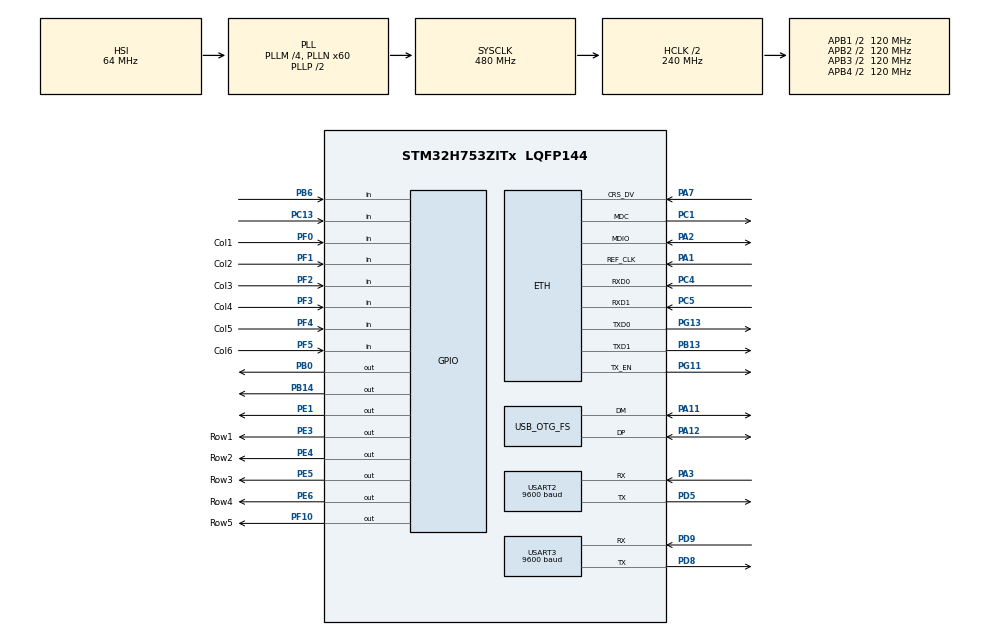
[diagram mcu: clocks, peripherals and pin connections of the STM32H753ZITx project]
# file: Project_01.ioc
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CORTEX_M7.AccessPermission_S-Cortex_Memory_Protection_Unit_Region1_Settings_S=MPU_REGION_FULL_ACCESS
CORTEX_M7.AccessPermission_S-Cortex_Memory_Protection_Unit_Region2_Settings_S=MPU_REGION_FULL_ACCESS
CORTEX_M7.BaseAddress_S-Cortex_Memory_Protection_Unit_Region1_Settings_S=0x30020000
CORTEX_M7.BaseAddress_S-Cortex_Memory_Protection_Unit_Region2_Settings_S=0x30040000
CORTEX_M7.DisableExec_S-Cortex_Memory_Protection_Unit_Region1_Settings_S=MPU_INSTRUCTION_ACCESS_DISABLE
CORTEX_M7.DisableExec_S-Cortex_Memory_Protection_Unit_Region2_Settings_S=MPU_INSTRUCTION_ACCESS_DISABLE
CORTEX_M7.Enable_S-Cortex_Memory_Protection_Unit_Region1_Settings_S=MPU_REGION_ENABLE
CORTEX_M7.Enable_S-Cortex_Memory_Protection_Unit_Region2_Settings_S=MPU_REGION_ENABLE
CORTEX_M7.IsBufferable_S-Cortex_Memory_Protection_Unit_Region2_Settings_S=MPU_ACCESS_BUFFERABLE
CORTEX_M7.IsShareable_S-Cortex_Memory_Protection_Unit_Region2_Settings_S=MPU_ACCESS_SHAREABLE
CORTEX_M7.Size_S-Cortex_Memory_Protection_Unit_Region1_Settings_S=MPU_REGION_SIZE_128KB
CORTEX_M7.Size_S-Cortex_Memory_Protection_Unit_Region2_Settings_S=MPU_REGION_SIZE_32KB
CORTEX_M7.TypeExtField_S-Cortex_Memory_Protection_Unit_Region1_Settings_S=MPU_TEX_LEVEL1
CORTEX_M7.default_mode_Activation=1
ETH.MediaInterface=HAL_ETH_RMII_MODE
ETH.RxBufferAddress=0x30040200
ETH.RxDescAddress=0x30040000
ETH.TxDescAddress=0x30040060
LWIP.BSP.number=1
LWIP.ETH_RX_BUFFER_CNT=10
LWIP.LWIP_DNS=0
LWIP.LWIP_RAM_HEAP_POINTER=0x30020000
LWIP.LWIP_SNMP=1
LWIP.LWIP_SNMP_V3=1
LWIP.MEM_SIZE=16360
LWIP.Version=v2.1.2_Cube
LWIP0.BSP.STBoard=false
LWIP0.BSP.api=BSP_COMPONENT_DRIVER
LWIP0.BSP.component=LAN8742
LWIP0.BSP.instance=LAN8742
LWIP0.BSP.name=Driver_PHY
LWIP0.BSP.semaphore=S_LAN8742
LWIP0.BSP.solution=LAN8742
Mcu.Family=STM32H7
Mcu.Name=STM32H753ZITx
Mcu.Package=LQFP144
NVIC.OTG_FS_IRQn=true\:0\:0\:false\:false\:true\:false\:true\:true
NVIC.PriorityGroup=NVIC_PRIORITYGROUP_4
NVIC.TIM6_DAC_IRQn=true\:0\:0\:false\:false\:true\:true\:true\:true
PA1.GPIO_Speed=GPIO_SPEED_FREQ_VERY_HIGH
PA1.Mode=RMII
PA1.Signal=ETH_REF_CLK
PA11.Mode=Device_Only
PA11.Signal=USB_OTG_FS_DM
PA12.Mode=Device_Only
PA12.Signal=USB_OTG_FS_DP
PA2.GPIO_Speed=GPIO_SPEED_FREQ_VERY_HIGH
PA2.Mode=RMII
PA2.Signal=ETH_MDIO
PA3.Mode=Asynchronous
PA3.Signal=USART2_RX
PA7.GPIO_Speed=GPIO_SPEED_FREQ_VERY_HIGH
PA7.Mode=RMII
PA7.Signal=ETH_CRS_DV
PB0.Signal=GPIO_Output
PB13.GPIO_Speed=GPIO_SPEED_FREQ_VERY_HIGH
PB13.Mode=RMII
PB13.Signal=ETH_TXD1
PB14.Signal=GPIO_Output
PB6.GPIO_PuPd=GPIO_PULLDOWN
PB6.Signal=GPIO_Input
PC1.GPIO_Speed=GPIO_SPEED_FREQ_VERY_HIGH
PC1.Mode=RMII
PC1.Signal=ETH_MDC
PC13.Signal=GPIO_Input
PC4.GPIO_Speed=GPIO_SPEED_FREQ_VERY_HIGH
PC4.Mode=RMII
PC4.Signal=ETH_RXD0
PC5.GPIO_Speed=GPIO_SPEED_FREQ_VERY_HIGH
PC5.Mode=RMII
PC5.Signal=ETH_RXD1
PD5.Mode=Asynchronous
PD5.Signal=USART2_TX
PD8.Mode=Asynchronous
PD8.Signal=USART3_TX
PD9.Mode=Asynchronous
PD9.Signal=USART3_RX
PE1.Signal=GPIO_Output
PE3.GPIO_Label=Row1
PE3.Signal=GPIO_Output
PE4.GPIO_Label=Row2
PE4.Signal=GPIO_Output
PE5.GPIO_Label=Row3
PE5.Signal=GPIO_Output
PE6.GPIO_Label=Row4
PE6.Signal=GPIO_Output
PF0.GPIO_Label=Col1
PF0.GPIO_PuPd=GPIO_PULLUP
PF0.Signal=GPIO_Input
PF1.GPIO_Label=Col2
PF1.GPIO_PuPd=GPIO_PULLUP
PF1.Signal=GPIO_Input
PF10.GPIO_Label=Row5
PF10.Signal=GPIO_Output
PF2.GPIO_Label=Col3
PF2.GPIO_PuPd=GPIO_PULLUP
PF2.Signal=GPIO_Input
PF3.GPIO_Label=Col4
PF3.GPIO_PuPd=GPIO_PULLUP
PF3.Signal=GPIO_Input
PF4.GPIO_Label=Col5
PF4.GPIO_PuPd=GPIO_PULLUP
PF4.Signal=GPIO_Input
PF5.GPIO_Label=Col6
PF5.GPIO_PuPd=GPIO_PULLUP
PF5.Signal=GPIO_Input
PG11.GPIO_Speed=GPIO_SPEED_FREQ_VERY_HIGH
PG11.Mode=RMII
PG11.Signal=ETH_TX_EN
PG13.GPIO_Speed=GPIO_SPEED_FREQ_VERY_HIGH
PG13.Mode=RMII
PG13.Signal=ETH_TXD0
PH0-OSC_IN\ (PH0).Mode=HSE-External-Clock-Source
PH0-OSC_IN\ (PH0).Signal=RCC_OSC_IN
ProjectManager.HeapSize=0x200
ProjectManager.StackSize=0x400
ProjectManager.TargetToolchain=STM32CubeIDE
RCC.ADCFreq_Value=129000000
RCC.APB1Freq_Value=120000000
RCC.APB2Freq_Value=120000000
RCC.APB3Freq_Value=120000000
RCC.APB4Freq_Value=120000000
RCC.CortexFreq_Value=480000000
RCC.D1PPRE=RCC_APB3_DIV2
RCC.D2PPRE1=RCC_APB1_DIV2
RCC.D2PPRE2=RCC_APB2_DIV2
RCC.D3PPRE=RCC_APB4_DIV2
RCC.DIVM1=4
RCC.DIVN1=60
RCC.HCLKFreq_Value=240000000
RCC.HPRE=RCC_HCLK_DIV2
RCC.HSE_VALUE=8000000
RCC.SYSCLKFreq_VALUE=480000000
RCC.SYSCLKSource=RCC_SYSCLKSOURCE_PLLCLK
RCC.USBCLockSelection=RCC_USBCLKSOURCE_HSI48
RCC.USBFreq_Value=48000000
TIM6.Period=9
TIM6.Prescaler=23999
USART2.BaudRate=9600
USART2.VirtualMode-Asynchronous=VM_ASYNC
USART3.BaudRate=9600
USART3.VirtualMode-Asynchronous=VM_ASYNC
USB_DEVICE.CLASS_NAME_FS=HID
USB_DEVICE.VirtualMode-HID_FS=Hid
USB_DEVICE.VirtualModeFS=Hid_FS
USB_OTG_FS.VirtualMode=Device_Only
VP_LWIP_VS_Enabled.Mode=Enabled
VP_MEMORYMAP_VS_MEMORYMAP.Mode=CurAppReg
VP_RNG_VS_RNG.Mode=RNG_Activate
VP_TIM6_VS_ClockSourceINT.Mode=Enable_Timer
VP_USB_DEVICE_VS_USB_DEVICE_HID_FS.Mode=HID_FS
board=custom

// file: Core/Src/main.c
/* USER CODE BEGIN Header */
/**
  ******************************************************************************
  * @file           : main.c
  * @brief          : Main program body
  ******************************************************************************
  * @attention
  *
  * Copyright (c) 2026 STMicroelectronics.
  * All rights reserved.
  *
  * This software is licensed under terms that can be found in the LICENSE file
  * in the root directory of this software component.
  * If no LICENSE file comes with this software, it is provided AS-IS.
  *
  ******************************************************************************
  */
/* USER CODE END Header */
#include "main.h"
#include "lwip.h"
#include "usb_device.h"

/* USER CODE BEGIN Includes */
#include "string.h"
#include "lwip/netif.h"
#include "lwip/dhcp.h"
#include "lwip/apps/snmp.h"
#include "lwip/apps/snmp_mib2.h"
#include <string.h>
#include <stddef.h>
#include <sys/unistd.h>
#include <stdio.h>

#include "lwip/apps/snmpv3.h"
#include "lwip/apps/snmp_snmpv2_framework.h"
#include "lwip/apps/snmp_snmpv2_usm.h"

#include "snmpv3_app.h"
#include "telnet_server.h"
#include "ip_persist.h"
#include "gpio_control.h"

#include "usbd_hid.h"
#include "keyboard_matrix.h"
#include "bms_monitor.h"
/* USER CODE END Includes */

RNG_HandleTypeDef hrng;

TIM_HandleTypeDef htim6;

UART_HandleTypeDef huart2;
UART_HandleTypeDef huart3;

/* USER CODE BEGIN PV */
extern struct netif gnetif;
extern USBD_HandleTypeDef hUsbDeviceFS;

uint8_t keyboardReport[8];

/* USER CODE END PV */

void SystemClock_Config(void);
static void MPU_Config(void);
static void MX_GPIO_Init(void);
static void MX_RNG_Init(void);
static void MX_USART2_UART_Init(void);
static void MX_USART3_UART_Init(void);
static void MX_TIM6_Init(void);
/* USER CODE BEGIN PFP */
int _write(int file, char *ptr, int len)
{
    HAL_UART_Transmit(&huart3, (uint8_t*)ptr, len, HAL_MAX_DELAY);
    return len;
}
/* USER CODE END PFP */

/* USER CODE BEGIN 0 */
int mbedtls_hardware_poll(void *data, unsigned char *output, size_t len, size_t *olen)
{
    uint32_t random_number;
    size_t offset = 0;

    (void)data;

    while (offset < len)
    {
        if (HAL_RNG_GenerateRandomNumber(&hrng, &random_number) != HAL_OK)
        {
            *olen = 0;
            return -1;
        }

        size_t copy_len = len - offset;

        if (copy_len > sizeof(random_number))
        {
            copy_len = sizeof(random_number);
        }

        memcpy(output + offset, &random_number, copy_len);
        offset += copy_len;
    }

    *olen = offset;

    return 0;
}

/* USER CODE END 0 */

int main(void)
{

  /* USER CODE BEGIN 1 */
	__HAL_RCC_D2SRAM1_CLK_ENABLE();
	__HAL_RCC_D2SRAM2_CLK_ENABLE();
	__HAL_RCC_D2SRAM3_CLK_ENABLE();

  /* USER CODE END 1 */

  /* MPU Configuration--------------------------------------------------------*/
  MPU_Config();

  /* MCU Configuration--------------------------------------------------------*/

  /* Reset of all peripherals, Initializes the Flash interface and the Systick. */
  HAL_Init();

  /* Configure the system clock */
  SystemClock_Config();

  /* Initialize all configured peripherals */
  MX_GPIO_Init();
  MX_LWIP_Init();
  MX_RNG_Init();
  MX_USART2_UART_Init();
  MX_USART3_UART_Init();
  MX_USB_DEVICE_Init();
  MX_TIM6_Init();
  /* USER CODE BEGIN 2 */
  /* Static network configuration */
  ip4_addr_t ipaddr;
  ip4_addr_t netmask;
  ip4_addr_t gw;

  IP4_ADDR(&ipaddr, 192, 168, 80, 120);
  IP4_ADDR(&netmask, 255, 255, 255, 0);
  IP4_ADDR(&gw, 192, 168, 80, 254);

  /* Disable DHCP and configure static IP */
  dhcp_stop(&gnetif);
  netif_set_addr(&gnetif, &ipaddr, &netmask, &gw);
  netif_set_up(&gnetif);

  /* SNMP agent setup */
  static const struct snmp_mib *mibs[] =
  {
      &mib2,
      &snmpframeworkmib,
      &snmpusmmib
  };

  snmp_set_mibs(mibs, LWIP_ARRAYSIZE(mibs));

  ip_addr_t manager_ip;

  uint32_t saved_manager_ip = IP_Persist_Load_Manager_IP();

  if (saved_manager_ip != 0)
  {
      manager_ip.addr = saved_manager_ip;
  }
  else
  {
      IP4_ADDR(&manager_ip, 192, 168, 80, 7);
  }

  snmp_trap_dst_ip_set(0, &manager_ip);
  snmp_trap_dst_enable(0, 1);

  if (snmpv3_app_init() != ERR_OK)
  {
      Error_Handler();
  }

  snmp_init();

  /* Telnet/TCP server init */
  telnet_server_init();

  /* Keyboard HID init */
  Keyboard_Matrix_Init();

  HAL_TIM_Base_Start_IT(&htim6);

  /* GPIO input detection init */
  GPIO_Control_Init();
  /* USER CODE END 2 */

  /* Infinite loop */
  while (1)
  {

    /* USER CODE BEGIN 3 */
	  //GPIO I/P control
	  GPIO_Control_Process();

	  MX_LWIP_Process();

	  //KEYBOARD HID
	  Keyboard_Matrix_Process();

	  //BMS
	  BMS_Process();

  }
  /* USER CODE END 3 */
}

void SystemClock_Config(void)
{
  RCC_OscInitTypeDef RCC_OscInitStruct = {0};
  RCC_ClkInitTypeDef RCC_ClkInitStruct = {0};

  /** Supply configuration update enable
  */
  HAL_PWREx_ConfigSupply(PWR_LDO_SUPPLY);

  /** Configure the main internal regulator output voltage
  */
  __HAL_PWR_VOLTAGESCALING_CONFIG(PWR_REGULATOR_VOLTAGE_SCALE0);

  while(!__HAL_PWR_GET_FLAG(PWR_FLAG_VOSRDY)) {}

  /** Initializes the RCC Oscillators according to the specified parameters
  * in the RCC_OscInitTypeDef structure.
  */
  RCC_OscInitStruct.OscillatorType = RCC_OSCILLATORTYPE_HSI48|RCC_OSCILLATORTYPE_HSI;
  RCC_OscInitStruct.HSIState = RCC_HSI_DIV1;
  RCC_OscInitStruct.HSICalibrationValue = RCC_HSICALIBRATION_DEFAULT;
  RCC_OscInitStruct.HSI48State = RCC_HSI48_ON;
  RCC_OscInitStruct.PLL.PLLState = RCC_PLL_ON;
  RCC_OscInitStruct.PLL.PLLSource = RCC_PLLSOURCE_HSI;
  RCC_OscInitStruct.PLL.PLLM = 4;
  RCC_OscInitStruct.PLL.PLLN = 60;
  RCC_OscInitStruct.PLL.PLLP = 2;
  RCC_OscInitStruct.PLL.PLLQ = 2;
  RCC_OscInitStruct.PLL.PLLR = 2;
  RCC_OscInitStruct.PLL.PLLRGE = RCC_PLL1VCIRANGE_3;
  RCC_OscInitStruct.PLL.PLLVCOSEL = RCC_PLL1VCOWIDE;
  RCC_OscInitStruct.PLL.PLLFRACN = 0;
  if (HAL_RCC_OscConfig(&RCC_OscInitStruct) != HAL_OK)
  {
    Error_Handler();
  }

  /** Initializes the CPU, AHB and APB buses clocks
  */
  RCC_ClkInitStruct.ClockType = RCC_CLOCKTYPE_HCLK|RCC_CLOCKTYPE_SYSCLK
                              |RCC_CLOCKTYPE_PCLK1|RCC_CLOCKTYPE_PCLK2
                              |RCC_CLOCKTYPE_D3PCLK1|RCC_CLOCKTYPE_D1PCLK1;
  RCC_ClkInitStruct.SYSCLKSource = RCC_SYSCLKSOURCE_PLLCLK;
  RCC_ClkInitStruct.SYSCLKDivider = RCC_SYSCLK_DIV1;
  RCC_ClkInitStruct.AHBCLKDivider = RCC_HCLK_DIV2;
  RCC_ClkInitStruct.APB3CLKDivider = RCC_APB3_DIV2;
  RCC_ClkInitStruct.APB1CLKDivider = RCC_APB1_DIV2;
  RCC_ClkInitStruct.APB2CLKDivider = RCC_APB2_DIV2;
  RCC_ClkInitStruct.APB4CLKDivider = RCC_APB4_DIV2;

  if (HAL_RCC_ClockConfig(&RCC_ClkInitStruct, FLASH_LATENCY_4) != HAL_OK)
  {
    Error_Handler();
  }
}

static void MX_RNG_Init(void)
{

  hrng.Instance = RNG;
  hrng.Init.ClockErrorDetection = RNG_CED_ENABLE;
  if (HAL_RNG_Init(&hrng) != HAL_OK)
  {
    Error_Handler();
  }

}

static void MX_TIM6_Init(void)
{

  TIM_MasterConfigTypeDef sMasterConfig = {0};

  htim6.Instance = TIM6;
  htim6.Init.Prescaler = 23999;
  htim6.Init.CounterMode = TIM_COUNTERMODE_UP;
  htim6.Init.Period = 9;
  htim6.Init.AutoReloadPreload = TIM_AUTORELOAD_PRELOAD_DISABLE;
  if (HAL_TIM_Base_Init(&htim6) != HAL_OK)
  {
    Error_Handler();
  }
  sMasterConfig.MasterOutputTrigger = TIM_TRGO_RESET;
  sMasterConfig.MasterSlaveMode = TIM_MASTERSLAVEMODE_DISABLE;
  if (HAL_TIMEx_MasterConfigSynchronization(&htim6, &sMasterConfig) != HAL_OK)
  {
    Error_Handler();
  }

}

static void MX_USART2_UART_Init(void)
{

  huart2.Instance = USART2;
  huart2.Init.BaudRate = 9600;
  huart2.Init.WordLength = UART_WORDLENGTH_8B;
  huart2.Init.StopBits = UART_STOPBITS_1;
  huart2.Init.Parity = UART_PARITY_NONE;
  huart2.Init.Mode = UART_MODE_TX_RX;
  huart2.Init.HwFlowCtl = UART_HWCONTROL_NONE;
  huart2.Init.OverSampling = UART_OVERSAMPLING_16;
  huart2.Init.OneBitSampling = UART_ONE_BIT_SAMPLE_DISABLE;
  huart2.Init.ClockPrescaler = UART_PRESCALER_DIV1;
  huart2.AdvancedInit.AdvFeatureInit = UART_ADVFEATURE_NO_INIT;
  if (HAL_UART_Init(&huart2) != HAL_OK)
  {
    Error_Handler();
  }
  if (HAL_UARTEx_SetTxFifoThreshold(&huart2, UART_TXFIFO_THRESHOLD_1_8) != HAL_OK)
  {
    Error_Handler();
  }
  if (HAL_UARTEx_SetRxFifoThreshold(&huart2, UART_RXFIFO_THRESHOLD_1_8) != HAL_OK)
  {
    Error_Handler();
  }
  if (HAL_UARTEx_DisableFifoMode(&huart2) != HAL_OK)
  {
    Error_Handler();
  }

}

static void MX_USART3_UART_Init(void)
{

  huart3.Instance = USART3;
  huart3.Init.BaudRate = 9600;
  huart3.Init.WordLength = UART_WORDLENGTH_8B;
  huart3.Init.StopBits = UART_STOPBITS_1;
  huart3.Init.Parity = UART_PARITY_NONE;
  huart3.Init.Mode = UART_MODE_TX_RX;
  huart3.Init.HwFlowCtl = UART_HWCONTROL_NONE;
  huart3.Init.OverSampling = UART_OVERSAMPLING_16;
  huart3.Init.OneBitSampling = UART_ONE_BIT_SAMPLE_DISABLE;
  huart3.Init.ClockPrescaler = UART_PRESCALER_DIV1;
  huart3.AdvancedInit.AdvFeatureInit = UART_ADVFEATURE_NO_INIT;
  if (HAL_UART_Init(&huart3) != HAL_OK)
  {
    Error_Handler();
  }
  if (HAL_UARTEx_SetTxFifoThreshold(&huart3, UART_TXFIFO_THRESHOLD_1_8) != HAL_OK)
  {
    Error_Handler();
  }
  if (HAL_UARTEx_SetRxFifoThreshold(&huart3, UART_RXFIFO_THRESHOLD_1_8) != HAL_OK)
  {
    Error_Handler();
  }
  if (HAL_UARTEx_DisableFifoMode(&huart3) != HAL_OK)
  {
    Error_Handler();
  }

}

static void MX_GPIO_Init(void)
{
  GPIO_InitTypeDef GPIO_InitStruct = {0};

  /* GPIO Ports Clock Enable */
  __HAL_RCC_GPIOE_CLK_ENABLE();
  __HAL_RCC_GPIOC_CLK_ENABLE();
  __HAL_RCC_GPIOF_CLK_ENABLE();
  __HAL_RCC_GPIOH_CLK_ENABLE();
  __HAL_RCC_GPIOA_CLK_ENABLE();
  __HAL_RCC_GPIOB_CLK_ENABLE();
  __HAL_RCC_GPIOD_CLK_ENABLE();
  __HAL_RCC_GPIOG_CLK_ENABLE();

  /*Configure GPIO pin Output Level */
  HAL_GPIO_WritePin(GPIOE, Row1_Pin|Row2_Pin|Row3_Pin|Row4_Pin
                          |GPIO_PIN_1, GPIO_PIN_RESET);

  /*Configure GPIO pin Output Level */
  HAL_GPIO_WritePin(Row5_GPIO_Port, Row5_Pin, GPIO_PIN_RESET);

  /*Configure GPIO pin Output Level */
  HAL_GPIO_WritePin(GPIOB, GPIO_PIN_0|GPIO_PIN_14, GPIO_PIN_RESET);

  /*Configure GPIO pins : Row1_Pin Row2_Pin Row3_Pin Row4_Pin
                           PE1 */
  GPIO_InitStruct.Pin = Row1_Pin|Row2_Pin|Row3_Pin|Row4_Pin
                          |GPIO_PIN_1;
  GPIO_InitStruct.Mode = GPIO_MODE_OUTPUT_PP;
  GPIO_InitStruct.Pull = GPIO_NOPULL;
  GPIO_InitStruct.Speed = GPIO_SPEED_FREQ_LOW;
  HAL_GPIO_Init(GPIOE, &GPIO_InitStruct);

  /*Configure GPIO pin : PC13 */
  GPIO_InitStruct.Pin = GPIO_PIN_13;
  GPIO_InitStruct.Mode = GPIO_MODE_INPUT;
  GPIO_InitStruct.Pull = GPIO_NOPULL;
  HAL_GPIO_Init(GPIOC, &GPIO_InitStruct);

  /*Configure GPIO pins : Col1_Pin Col2_Pin Col3_Pin Col4_Pin
                           Col5_Pin Col6_Pin */
  GPIO_InitStruct.Pin = Col1_Pin|Col2_Pin|Col3_Pin|Col4_Pin
                          |Col5_Pin|Col6_Pin;
  GPIO_InitStruct.Mode = GPIO_MODE_INPUT;
  GPIO_InitStruct.Pull = GPIO_PULLUP;
  HAL_GPIO_Init(GPIOF, &GPIO_InitStruct);

  /*Configure GPIO pin : Row5_Pin */
  GPIO_InitStruct.Pin = Row5_Pin;
  GPIO_InitStruct.Mode = GPIO_MODE_OUTPUT_PP;
  GPIO_InitStruct.Pull = GPIO_NOPULL;
  GPIO_InitStruct.Speed = GPIO_SPEED_FREQ_LOW;
  HAL_GPIO_Init(Row5_GPIO_Port, &GPIO_InitStruct);

  /*Configure GPIO pins : PB0 PB14 */
  GPIO_InitStruct.Pin = GPIO_PIN_0|GPIO_PIN_14;
  GPIO_InitStruct.Mode = GPIO_MODE_OUTPUT_PP;
  GPIO_InitStruct.Pull = GPIO_NOPULL;
  GPIO_InitStruct.Speed = GPIO_SPEED_FREQ_LOW;
  HAL_GPIO_Init(GPIOB, &GPIO_InitStruct);

  /*Configure GPIO pin : PB6 */
  GPIO_InitStruct.Pin = GPIO_PIN_6;
  GPIO_InitStruct.Mode = GPIO_MODE_INPUT;
  GPIO_InitStruct.Pull = GPIO_PULLDOWN;
  HAL_GPIO_Init(GPIOB, &GPIO_InitStruct);

}

/* USER CODE BEGIN 4 */
void HAL_TIM_PeriodElapsedCallback(TIM_HandleTypeDef *htim)
{
    if (htim->Instance == TIM6)
    {
        Keyboard_Matrix_TimerCallback();
    }
}
/* USER CODE END 4 */

 /* MPU Configuration */

void MPU_Config(void)
{
  MPU_Region_InitTypeDef MPU_InitStruct = {0};

  /* Disables the MPU */
  HAL_MPU_Disable();

  /** Initializes and configures the Region and the memory to be protected
  */
  MPU_InitStruct.Enable = MPU_REGION_ENABLE;
  MPU_InitStruct.Number = MPU_REGION_NUMBER0;
  MPU_InitStruct.BaseAddress = 0x0;
  MPU_InitStruct.Size = MPU_REGION_SIZE_4GB;
  MPU_InitStruct.SubRegionDisable = 0x87;
  MPU_InitStruct.TypeExtField = MPU_TEX_LEVEL0;
  MPU_InitStruct.AccessPermission = MPU_REGION_NO_ACCESS;
  MPU_InitStruct.DisableExec = MPU_INSTRUCTION_ACCESS_DISABLE;
  MPU_InitStruct.IsShareable = MPU_ACCESS_SHAREABLE;
  MPU_InitStruct.IsCacheable = MPU_ACCESS_NOT_CACHEABLE;
  MPU_InitStruct.IsBufferable = MPU_ACCESS_NOT_BUFFERABLE;

  HAL_MPU_ConfigRegion(&MPU_InitStruct);

  /** Initializes and configures the Region and the memory to be protected
  */
  MPU_InitStruct.Number = MPU_REGION_NUMBER1;
  MPU_InitStruct.BaseAddress = 0x30020000;
  MPU_InitStruct.Size = MPU_REGION_SIZE_128KB;
  MPU_InitStruct.SubRegionDisable = 0x0;
  MPU_InitStruct.TypeExtField = MPU_TEX_LEVEL1;
  MPU_InitStruct.AccessPermission = MPU_REGION_FULL_ACCESS;
  MPU_InitStruct.IsShareable = MPU_ACCESS_NOT_SHAREABLE;

  HAL_MPU_ConfigRegion(&MPU_InitStruct);

  /** Initializes and configures the Region and the memory to be protected
  */
  MPU_InitStruct.Number = MPU_REGION_NUMBER2;
  MPU_InitStruct.BaseAddress = 0x30040000;
  MPU_InitStruct.Size = MPU_REGION_SIZE_32KB;
  MPU_InitStruct.TypeExtField = MPU_TEX_LEVEL0;
  MPU_InitStruct.IsShareable = MPU_ACCESS_SHAREABLE;
  MPU_InitStruct.IsBufferable = MPU_ACCESS_BUFFERABLE;

  HAL_MPU_ConfigRegion(&MPU_InitStruct);
  /* Enables the MPU */
  HAL_MPU_Enable(MPU_PRIVILEGED_DEFAULT);

}

void Error_Handler(void)
{
  __disable_irq();
  while (1)
  {
  }
}
